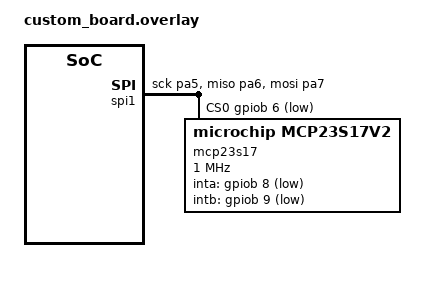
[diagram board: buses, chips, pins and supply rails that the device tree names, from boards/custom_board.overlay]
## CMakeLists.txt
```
# SPDX-License-Identifier: Apache-2.0 Copyright 2022 Martin Schröder
# <info@swedishembedded.com> Consulting: https://swedishembedded.com/go
# Training: https://swedishembedded.com/tag/training

cmake_minimum_required(VERSION 3.20.0)
find_package(Zephyr REQUIRED HINTS $ENV{ZEPHYR_BASE})
project(test)

if(CONFIG_CMOCK)
  unity_generate_test_runner(src/unit.c)
  cmock_generate_mocks(${ZEPHYR_BASE}/include/zephyr/kernel.h .)
  cmock_generate_mocks(${ZEPHYR_BASE}/include/zephyr/drivers/gpio.h .)
  cmock_generate_mocks(${ZEPHYR_BASE}/include/zephyr/drivers/spi.h .)
  target_sources(app PRIVATE src/unit.c)
else()
  target_sources(
    app PRIVATE ${CMAKE_CURRENT_LIST_DIR}/../../../../drivers/gpio/mcp23s17.c)
  unity_generate_test_runner(src/integration.c)
  target_sources(app PRIVATE src/integration.c)
endif()
```

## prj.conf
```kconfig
# SPDX-License-Identifier: Apache-2.0
# Copyright 2022 Martin Schröder <info@swedishembedded.com>
# Consulting: https://swedishembedded.com/go
# Training: https://swedishembedded.com/tag/training

CONFIG_UNITY=y
CONFIG_ASSERT=n
CONFIG_SPI=y
CONFIG_SPI_STM32_INTERRUPT=n
CONFIG_TEST_LOGGING_DEFAULTS=n
```

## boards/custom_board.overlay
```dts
/* SPDX-License-Identifier: Apache-2.0 */
/**
 * Copyright 2022 Martin Schröder <info@swedishembedded.com>
 * Consulting: https://swedishembedded.com/go
 * Training: https://swedishembedded.com/tag/training
 **/

&spi1 {
	pinctrl-0 = <&spi1_sck_pa5 &spi1_miso_pa6 &spi1_mosi_pa7>;
	pinctrl-names = "default";
	cs-gpios = <
		&gpiob 6 (GPIO_ACTIVE_LOW | GPIO_PULL_UP)
	>;
	status = "okay";

	mcp23s17: mcp23s17@0 {
		compatible = "microchip,mcp23s17v2";
		spi-max-frequency = <1000000>;
		reg = <0>;
		gpio-controller;
		#gpio-cells = <2>;
		ngpios = <16>;
		inta-gpios = <
			&gpiob 8 (GPIO_ACTIVE_LOW | GPIO_PULL_UP)
		>;
		intb-gpios = <
			&gpiob 9 (GPIO_ACTIVE_LOW | GPIO_PULL_UP)
		>;
		status = "okay";
	};
};
```

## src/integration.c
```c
// SPDX-License-Identifier: Apache-2.0
/**
 * Copyright 2022 Martin Schröder <info@swedishembedded.com>
 * Consulting: https://swedishembedded.com/go
 * Training: https://swedishembedded.com/tag/training
 **/

#include <zephyr/drivers/gpio.h>
#include <unity.h>

void test_mcp23s17_is_connected(void)
{
	// we can check whether the device works by setting a pin and then getting it
	const struct device *gpio = device_get_binding("mcp23s17@0");

	TEST_ASSERT_NOT_NULL(gpio);
	TEST_ASSERT_EQUAL(0, gpio_pin_get(gpio, 1));
	TEST_ASSERT_EQUAL(0, gpio_pin_set(gpio, 1, 1));
	TEST_ASSERT_EQUAL(1, gpio_pin_get(gpio, 1));
	TEST_ASSERT_EQUAL(0, 0);
}
```
